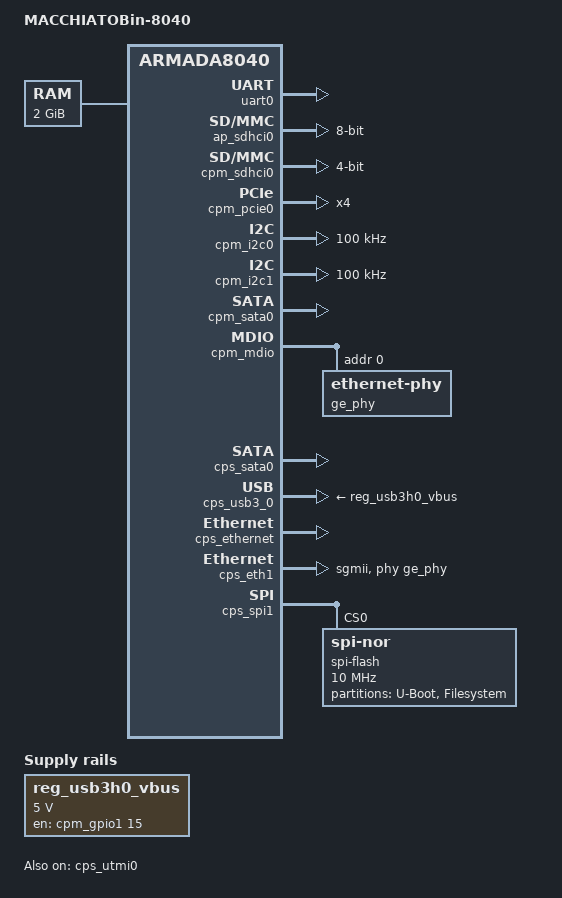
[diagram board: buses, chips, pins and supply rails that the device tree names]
// SPDX-License-Identifier: GPL-2.0
/*
 * Copyright (C) 2016 Marvell International Ltd.
 */

#include "armada-8040.dtsi" /* include SoC device tree */

/ {
	model = "MACCHIATOBin-8040";
	compatible = "marvell,armada8040-mcbin",
		     "marvell,armada8040";

	chosen {
		stdout-path = "serial0:115200n8";
	};

	aliases {
		i2c0 = &cpm_i2c0;
		i2c1 = &cpm_i2c1;
		spi0 = &cps_spi1;
		gpio0 = &ap_gpio0;
		gpio1 = &cpm_gpio0;
		gpio2 = &cpm_gpio1;
	};

	memory@00000000 {
		device_type = "memory";
		reg = <0x0 0x0 0x0 0x80000000>;
	};

	simple-bus {
		compatible = "simple-bus";
		#address-cells = <1>;
		#size-cells = <0>;

		reg_usb3h0_vbus: usb3-vbus0 {
			compatible = "regulator-fixed";
			pinctrl-names = "default";
			pinctrl-0 = <&cpm_xhci_vbus_pins>;
			regulator-name = "reg-usb3h0-vbus";
			regulator-min-microvolt = <5000000>;
			regulator-max-microvolt = <5000000>;
			startup-delay-us = <500000>;
			enable-active-high;
			regulator-always-on;
			regulator-boot-on;
			gpio = <&cpm_gpio1 15 GPIO_ACTIVE_HIGH>; /* GPIO[47] */
		};
	};
};

/* Accessible over the mini-USB CON9 connector on the main board */
&uart0 {
	status = "okay";
};

&ap_pinctl {
	/*
	 * MPP Bus:
	 * eMMC [0-10]
	 * UART0 [11,19]
	 */
		  /* 0 1 2 3 4 5 6 7 8 9 */
	pin-func = < 1 1 1 1 1 1 1 1 1 1
		     1 3 0 0 0 0 0 0 0 3 >;
};

/* on-board eMMC */
&ap_sdhci0 {
	pinctrl-names = "default";
	pinctrl-0 = <&ap_emmc_pins>;
	bus-width= <8>;
	status = "okay";
};

&cpm_pinctl {
	/*
	 * MPP Bus:
	 * [0-31] = 0xff: Keep default CP0_shared_pins:
	 * [11] CLKOUT_MPP_11 (out)
	 * [23] LINK_RD_IN_CP2CP (in)
	 * [25] CLKOUT_MPP_25 (out)
	 * [29] AVS_FB_IN_CP2CP (in)
	 * [32,34] SMI
	 * [33]    MSS power down
	 * [35-38] CP0 I2C1 and I2C0
	 * [39] MSS CKE Enable
	 * [40,41] CP0 UART1 TX/RX
	 * [42,43] XSMI (controls two 10G phys)
	 * [47] USB VBUS EN
	 * [48] FAN PWM
	 * [49] 10G port 1 interrupt
	 * [50] 10G port 0 interrupt
	 * [51] 2.5G SFP TX fault
	 * [52] PCIe reset out
	 * [53] 2.5G SFP mode
	 * [54] 2.5G SFP LOS
	 * [55] Micro SD card detect
	 * [56-61] Micro SD
	 * [62] CP1 SFI SFP FAULT
	 */
		/*   0    1    2    3    4    5    6    7    8    9 */
	pin-func = < 0xff 0xff 0xff 0xff 0xff 0xff 0xff 0xff 0xff 0xff
		     0xff 0xff 0xff 0xff 0xff 0xff 0xff 0xff 0xff 0xff
		     0xff 0xff 0xff 0xff 0xff 0xff 0xff 0xff 0xff 0xff
		     0xff 0    7    0xa  7    2    2    2    2    0xa
		     7    7    8    8    0    0    0    0    0    0
		     0    0    0    0    0    0    0xe  0xe  0xe  0xe
		     0xe  0xe  0 >;

	cpm_xhci_vbus_pins: cpm-xhci-vbus-pins {
		marvell,pins = < 47 >;
		marvell,function = <0>;
	};

	cpm_pcie_reset_pins: cpm-pcie-reset-pins {
		marvell,pins = < 52 >;
		marvell,function = <0>;
	};
};

/* uSD slot */
&cpm_sdhci0 {
	pinctrl-names = "default";
	pinctrl-0 = <&cpm_sdhci_pins>;
	bus-width= <4>;
	status = "okay";
};

/* PCIe x4 */
&cpm_pcie0 {
	num-lanes = <4>;
	pinctrl-names = "default";
	pinctrl-0 = <&cpm_pcie_reset_pins>;
	marvell,reset-gpio = <&cpm_gpio1 20 GPIO_ACTIVE_LOW>; /* GPIO[52] */
	status = "okay";
};

&cpm_i2c0 {
	pinctrl-names = "default";
	pinctrl-0 = <&cpm_i2c0_pins>;
	status = "okay";
	clock-frequency = <100000>;
};

&cpm_i2c1 {
	pinctrl-names = "default";
	pinctrl-0 = <&cpm_i2c1_pins>;
	status = "okay";
	clock-frequency = <100000>;
};

&cpm_sata0 {
	status = "okay";
};

&cpm_mdio {
	ge_phy: ethernet-phy@0 {
		reg = <0>;
	};
};

&cpm_comphy {
	/*
	 * CP0 Serdes Configuration:
	 * Lane 0: PCIe0 (x4)
	 * Lane 1: PCIe0 (x4)
	 * Lane 2: PCIe0 (x4)
	 * Lane 3: PCIe0 (x4)
	 * Lane 4: SFI (10G)
	 * Lane 5: SATA1
	 */
	phy0 {
		phy-type = <PHY_TYPE_PEX0>;
	};
	phy1 {
		phy-type = <PHY_TYPE_PEX0>;
	};
	phy2 {
		phy-type = <PHY_TYPE_PEX0>;
	};
	phy3 {
		phy-type = <PHY_TYPE_PEX0>;
	};
	phy4 {
		phy-type = <PHY_TYPE_SFI>;
	};
	phy5 {
		phy-type = <PHY_TYPE_SATA1>;
	};
};

&cps_sata0 {
	status = "okay";
};

&cps_usb3_0 {
	vbus-supply = <&reg_usb3h0_vbus>;
	status = "okay";
};

&cps_utmi0 {
	status = "okay";
};

&cps_ethernet {
	status = "okay";
};

&cps_eth1 {
	status = "okay";
	phy = <&ge_phy>;
	phy-mode = "sgmii";
};

&cps_pinctl {
	/*
	 * MPP Bus:
	 * [0-5] TDM
	 * [6,7] CP1_UART 0
	 * [8]   CP1 10G SFP LOS
	 * [9]   CP1 10G PHY RESET
	 * [10]  CP1 10G SFP TX Disable
	 * [11]  CP1 10G SFP Mode
	 * [12]  SPI1 CS1n
	 * [13]  SPI1 MISO (TDM and SPI ROM shared)
	 * [14]  SPI1 CS0n
	 * [15]  SPI1 MOSI (TDM and SPI ROM shared)
	 * [16]  SPI1 CLK (TDM and SPI ROM shared)
	 * [24]  CP1 2.5G SFP TX Disable
	 * [26]  CP0 10G SFP TX Fault
	 * [27]  CP0 10G SFP Mode
	 * [28]  CP0 10G SFP LOS
	 * [29]  CP0 10G SFP TX Disable
	 * [30]  USB Over current indication
	 * [31]  10G Port 0 phy reset
	 * [32-62] = 0xff: Keep default CP1_shared_pins:
	 */
		/*   0    1    2    3    4    5    6    7    8    9 */
	pin-func = < 0x4  0x4  0x4  0x4  0x4  0x4  0x8  0x8  0x0  0x0
		     0x0  0x0  0x3  0x3  0x3  0x3  0x3  0xff 0xff 0xff
		     0xff 0xff 0xff 0xff 0x0  0xff 0x0  0x0  0x0 0x0
		     0x0  0x0  0xff 0xff 0xff 0xff 0xff 0xff 0xff 0xff
		     0xff 0xff 0xff 0xff 0xff 0xff 0xff 0xff 0xff 0xff
		     0xff 0xff 0xff 0xff 0xff 0xff 0xff 0xff 0xff 0xff
		     0xff 0xff 0xff>;
};

&cps_spi1 {
	pinctrl-names = "default";
	pinctrl-0 = <&cps_spi1_pins>;
	status = "okay";

	spi-flash@0 {
		#address-cells = <1>;
		#size-cells = <1>;
		compatible = "jedec,spi-nor";
		reg = <0>;
		spi-max-frequency = <10000000>;

		partitions {
			compatible = "fixed-partitions";
			#address-cells = <1>;
			#size-cells = <1>;

			partition@0 {
				label = "U-Boot";
				reg = <0 0x200000>;
			};
			partition@400000 {
				label = "Filesystem";
				reg = <0x200000 0xce0000>;
			};
		};
	};
};

&cps_comphy {
	/*
	 * CP1 Serdes Configuration:
	 * Lane 0: SGMII1
	 * Lane 1: SATA 0
	 * Lane 2: USB HOST 0
	 * Lane 3: SATA1
	 * Lane 4: SFI (10G)
	 * Lane 5: SGMII3
	 */
	phy0 {
		phy-type = <PHY_TYPE_SGMII1>;
		phy-speed = <PHY_SPEED_1_25G>;
	};
	phy1 {
		phy-type = <PHY_TYPE_SATA0>;
	};
	phy2 {
		phy-type = <PHY_TYPE_USB3_HOST0>;
	};
	phy3 {
		phy-type = <PHY_TYPE_SATA1>;
	};
	phy4 {
		phy-type = <PHY_TYPE_SFI>;
	};
	phy5 {
		phy-type = <PHY_TYPE_SGMII3>;
	};
};
